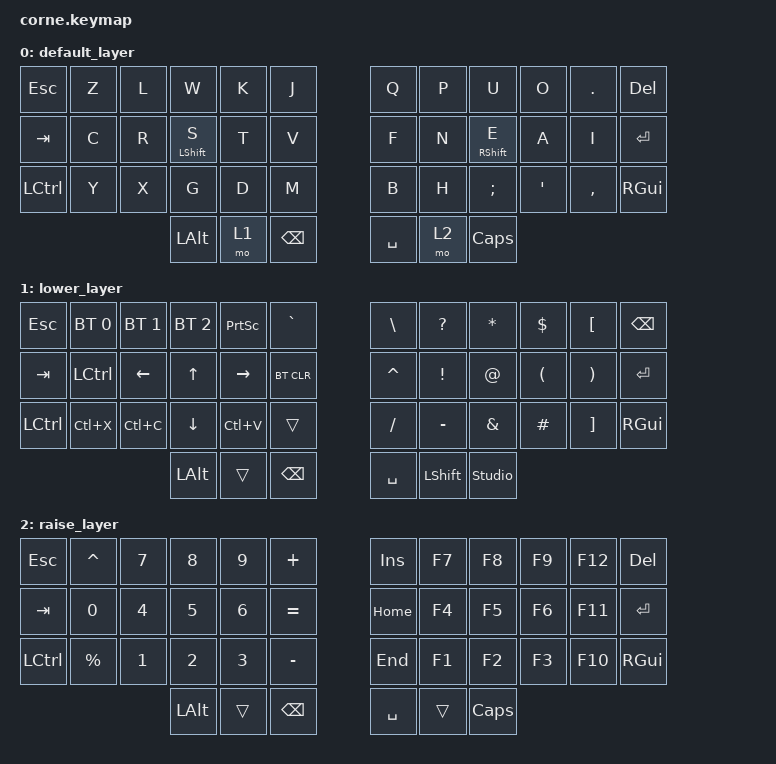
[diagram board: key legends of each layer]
/*
 * Copyright (c) 2020 The ZMK Contributors
 *
 * SPDX-License-Identifier: MIT
 */

#include <behaviors.dtsi>
#include <dt-bindings/zmk/keys.h>
#include <dt-bindings/zmk/bt.h>
#define TAPPING_TERM_MS 200

/ {
       behaviors {
        bhm: balanced_homerow_mods {
            compatible = "zmk,behavior-hold-tap";
            #binding-cells = <2>;
            tapping-term-ms = <200>;
            quick-tap-ms = <0>;
            flavor = "balanced";
            bindings = <&kp>, <&kp>;
        };
       soff: soft_off {
            compatible = "zmk,behavior-soft-off";
            #binding-cells = <0>;
            // split-peripheral-off-on-press;
            hold-time-ms = <2000>; // Only turn off it the key is held for 2 seconds or longer.
        };
    };

    keymap {
        compatible = "zmk,keymap";
        default_layer {
        bindings = <
            &kp ESC   &kp Z &kp L &kp W         &kp K &kp J      &kp Q     &kp P &kp U        &kp O    &kp DOT &kp DEL
            &kp TAB   &kp C &kp R &bhm LSHIFT S &kp T &kp V      &kp F     &kp N &bhm RSHIFT E &kp A    &kp I     &kp RET
            &kp LCTRL &kp Y &kp X &kp G         &kp D &kp M      &kp B     &kp H &kp SEMI     &kp APOS &kp COMMA   &kp RGUI
                                  &kp LALT      &mo 1 &kp BSPC   &kp SPACE &mo 2 &kp CAPS
        >;
    };
    lower_layer {
        bindings = <
            &kp ESC   &bt BT_SEL 0 &bt BT_SEL 1 &bt BT_SEL 2 &kp PSCRN   &kp GRAVE  &kp BSLH   &kp QMARK &kp ASTRK &kp DLLR &kp LBKT  &kp BSPC
            &kp TAB   &kp LCTRL    &kp LEFT     &kp UP       &kp RIGHT   &bt BT_CLR &kp CARET  &kp EXCL  &kp AT    &kp LPAR &kp RPAR  &kp RET
            &kp LCTRL &kp LC(X)    &kp LC(C)    &kp DOWN     &kp LC(V)   &trans     &kp FSLH   &kp MINUS &kp AMPS  &kp HASH &kp RBKT  &kp RGUI
                                   &kp LALT     &trans       &kp BSPC    &kp SPACE  &kp LSHIFT &studio_unlock
        >;
    };
    raise_layer {
        bindings = <
            &kp ESC   &kp CARET &kp N7   &kp N8 &kp N9     &kp PLUS    &kp INS   &kp F7 &kp F8 &kp F9 &kp F12 &kp DEL
            &kp TAB   &kp N0    &kp N4   &kp N5 &kp N6     &kp EQUAL   &kp HOME  &kp F4 &kp F5 &kp F6 &kp F11 &kp RET
            &kp LCTRL &kp PRCNT &kp N1   &kp N2 &kp N3     &kp MINUS   &kp END   &kp F1 &kp F2 &kp F3 &kp F10 &kp RGUI
                                &kp LALT &trans &kp BSPC   &kp SPACE   &trans    &kp CAPS
        >;
      };
   };
};
